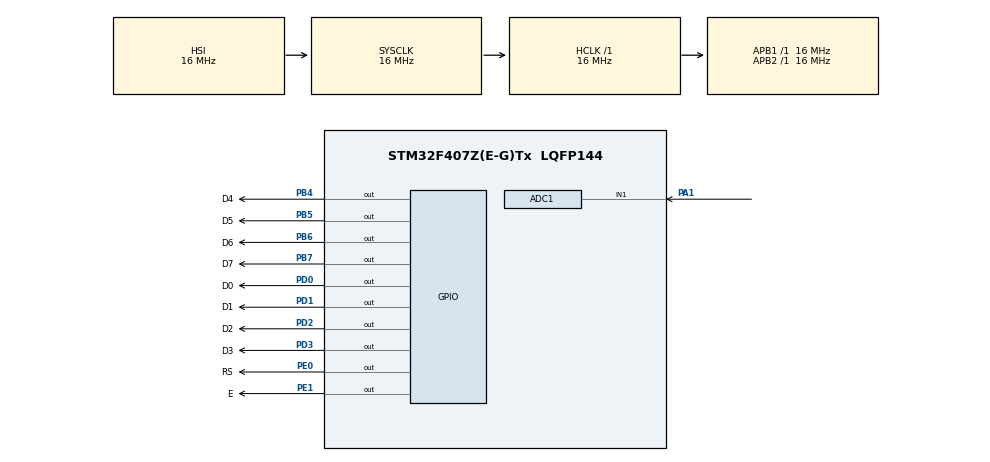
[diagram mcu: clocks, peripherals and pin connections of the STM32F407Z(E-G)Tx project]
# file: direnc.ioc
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ADC1.Channel-0\#ChannelRegularConversion=ADC_CHANNEL_1
ADC1.Channel-1\#ChannelRegularConversion=ADC_CHANNEL_1
ADC1.ClockPrescaler=ADC_CLOCK_SYNC_PCLK_DIV2
ADC1.ContinuousConvMode=ENABLE
ADC1.DMAContinuousRequests=ENABLE
ADC1.DataAlign=ADC_DATAALIGN_RIGHT
ADC1.DiscontinuousConvMode=DISABLE
ADC1.EOCSelection=ADC_EOC_SINGLE_CONV
ADC1.EnableAnalogWatchDog=false
ADC1.ExternalTrigConv=ADC_SOFTWARE_START
ADC1.ExternalTrigConvEdge=ADC_EXTERNALTRIGCONVEDGE_NONE
ADC1.InjNumberOfConversion=0
ADC1.NbrOfConversion=2
ADC1.NbrOfConversionFlag=1
ADC1.Rank-0\#ChannelRegularConversion=1
ADC1.Rank-1\#ChannelRegularConversion=2
ADC1.Resolution=ADC_RESOLUTION_12B
ADC1.SamplingTime-0\#ChannelRegularConversion=ADC_SAMPLETIME_480CYCLES
ADC1.SamplingTime-1\#ChannelRegularConversion=ADC_SAMPLETIME_480CYCLES
ADC1.ScanConvMode=ENABLE
ADC1.master=1
Dma.ADC1.0.Direction=DMA_PERIPH_TO_MEMORY
Dma.ADC1.0.FIFOMode=DMA_FIFOMODE_DISABLE
Dma.ADC1.0.Instance=DMA2_Stream0
Dma.ADC1.0.MemDataAlignment=DMA_MDATAALIGN_HALFWORD
Dma.ADC1.0.MemInc=DMA_MINC_ENABLE
Dma.ADC1.0.Mode=DMA_CIRCULAR
Dma.ADC1.0.PeriphDataAlignment=DMA_PDATAALIGN_HALFWORD
Dma.ADC1.0.PeriphInc=DMA_PINC_DISABLE
Dma.ADC1.0.Priority=DMA_PRIORITY_LOW
Dma.Request0=ADC1
Mcu.Family=STM32F4
Mcu.Name=STM32F407Z(E-G)Tx
Mcu.Package=LQFP144
NVIC.ADC_IRQn=true\:0\:0\:false\:false\:true\:true
NVIC.DMA2_Stream0_IRQn=true\:0\:0\:false\:false\:true\:true
NVIC.PriorityGroup=NVIC_PRIORITYGROUP_4
PA1.Signal=ADCx_IN1
PB4.GPIO_Label=D4
PB4.Signal=GPIO_Output
PB5.GPIO_Label=D5
PB5.Signal=GPIO_Output
PB6.GPIO_Label=D6
PB6.Signal=GPIO_Output
PB7.GPIO_Label=D7
PB7.Signal=GPIO_Output
PD0.GPIO_Label=D0
PD0.Signal=GPIO_Output
PD1.GPIO_Label=D1
PD1.Signal=GPIO_Output
PD2.GPIO_Label=D2
PD2.Signal=GPIO_Output
PD3.GPIO_Label=D3
PD3.Signal=GPIO_Output
PE0.GPIO_Label=RS
PE0.Signal=GPIO_Output
PE1.GPIO_Label=E
PE1.Signal=GPIO_Output
ProjectManager.HeapSize=0x200
ProjectManager.StackSize=0x400
ProjectManager.TargetToolchain=MDK-ARM V5
RCC.AHBFreq_Value=16000000
RCC.APB1Freq_Value=16000000
RCC.APB2Freq_Value=16000000
RCC.CortexFreq_Value=16000000
RCC.HSE_VALUE=25000000
RCC.HSI_VALUE=16000000
RCC.LSE_VALUE=32768
RCC.PLLSourceVirtual=RCC_PLLSOURCE_HSI
RCC.SYSCLKFreq_VALUE=16000000
RCC.VCOOutputFreq_Value=192000000
SH.ADCx_IN1.0=ADC1_IN1,IN1
board=direnc

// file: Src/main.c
/**
  ******************************************************************************
  * @file           : main.c
  * @brief          : Main program body
  ******************************************************************************
  ** This notice applies to any and all portions of this file
  * that are not between comment pairs USER CODE BEGIN and
  * USER CODE END. Other portions of this file, whether
  * inserted by the user or by software development tools
  * are owned by their respective copyright owners.
  *
  * COPYRIGHT(c) 2018 STMicroelectronics
  *
  * Redistribution and use in source and binary forms, with or without modification,
  * are permitted provided that the following conditions are met:
  *   1. Redistributions of source code must retain the above copyright notice,
  *      this list of conditions and the following disclaimer.
  *   2. Redistributions in binary form must reproduce the above copyright notice,
  *      this list of conditions and the following disclaimer in the documentation
  *      and/or other materials provided with the distribution.
  *   3. Neither the name of STMicroelectronics nor the names of its contributors
  *      may be used to endorse or promote products derived from this software
  *      without specific prior written permission.
  *
  * THIS SOFTWARE IS PROVIDED BY THE COPYRIGHT HOLDERS AND CONTRIBUTORS "AS IS"
  * AND ANY EXPRESS OR IMPLIED WARRANTIES, INCLUDING, BUT NOT LIMITED TO, THE
  * IMPLIED WARRANTIES OF MERCHANTABILITY AND FITNESS FOR A PARTICULAR PURPOSE ARE
  * DISCLAIMED. IN NO EVENT SHALL THE COPYRIGHT HOLDER OR CONTRIBUTORS BE LIABLE
  * FOR ANY DIRECT, INDIRECT, INCIDENTAL, SPECIAL, EXEMPLARY, OR CONSEQUENTIAL
  * DAMAGES (INCLUDING, BUT NOT LIMITED TO, PROCUREMENT OF SUBSTITUTE GOODS OR
  * SERVICES; LOSS OF USE, DATA, OR PROFITS; OR BUSINESS INTERRUPTION) HOWEVER
  * CAUSED AND ON ANY THEORY OF LIABILITY, WHETHER IN CONTRACT, STRICT LIABILITY,
  * OR TORT (INCLUDING NEGLIGENCE OR OTHERWISE) ARISING IN ANY WAY OUT OF THE USE
  * OF THIS SOFTWARE, EVEN IF ADVISED OF THE POSSIBILITY OF SUCH DAMAGE.
  *
  ******************************************************************************
  */
#include "main.h"
#include "stm32f4xx_hal.h"
/* USER CODE BEGIN Includes */
#include "STM_MY_LCD16X2.h"
/* USER CODE END Includes */

ADC_HandleTypeDef hadc1;
DMA_HandleTypeDef hdma_adc1;

/* USER CODE BEGIN PV */
/* Private variables ---------------------------------------------------------*/
//TIM_HandleTypeDef *htim;
char lcd[16]; // 2.satirda basilacak dizi
#define RS 0
#define E 1

#define D0 0
#define D1 1
#define D2 2
#define D3 3

#define D4 4
#define D5 5
#define D6 6
#define D7 7
int sayi = 0, rakam = 0, toplam = 0;
int sag1 = 0;
int sag2 = 0;
int sag3 = 0;
int adc_value=0;

/* USER CODE END PV */

void SystemClock_Config(void);
static void MX_GPIO_Init(void);
static void MX_DMA_Init(void);
static void MX_ADC1_Init(void);

/* USER CODE BEGIN PFP */
/* Private function prototypes -----------------------------------------------*/

/* USER CODE END PFP */

/* USER CODE BEGIN 0 */
//char *itoa (int __val, char *__s, int __radix)
//{
//    if (!__builtin_constant_p (__radix)) {
//    extern char *__itoa (int, char *, int);
//    return __itoa (__val, __s, __radix);
//    } else if (__radix < 2 || __radix > 36) {
//    *__s = 0;
//    return __s;
//    } else {
//    extern char *__itoa_ncheck (int, char *, unsigned char);
//    return __itoa_ncheck (__val, __s, __radix);
//    }
//}

//this method will convert the int to string to be wittin in LCD
void iToS (int i)
{
	int sayac=9; // 7 tane eleman dizisini sayiyiyor kucuge dogru
	while(i>0)
	{
		lcd[sayac]=i%10+' '; // 1.rakam diziye aktarmak
		i=i/10; // 1.rakam sayiden eksiltmek
		sayac--; // sonraki eleman dizine gitmek
	}
}
/* USER CODE END 0 */

void ADC_IRQHandler(void)
{

	 adc_value=HAL_ADC_GetValue(&hadc1);
	  sayi=adc_value;
	int sayici = 0;
	while (sayi > 0) {
            rakam = sayi % 10;
            if (sayici == 0) {
                sag3 = rakam;
            }
            if (sayici == 1) {
                sag2 = rakam;
            }
            if (sayici == 2) {
                sag1 = rakam;
            }
            sayi = sayi / 10;
            sayici++;
        }

	HAL_ADC_Start_IT(&hadc1);
  HAL_ADC_IRQHandler(&hadc1);

}

int main(void)
{
  /* USER CODE BEGIN 1 */
	//HAL_TIM_Base_Start_IT(&htim);
  /* USER CODE END 1 */

  /* MCU Configuration----------------------------------------------------------*/

  /* Reset of all peripherals, Initializes the Flash interface and the Systick. */
  HAL_Init();

  /* Configure the system clock */
  SystemClock_Config();

  /* Initialize all configured peripherals */
  MX_GPIO_Init();
  MX_DMA_Init();
  MX_ADC1_Init();
  /* USER CODE BEGIN 2 */
	//HAL_ADC_Start_DMA(&hadc1,(uint32_t*)adc_olcum[0],2);	// bir daha bakilmalidir

	// ekrana basmak olayi
	HAL_ADC_Start_IT(&hadc1);
	LCD_begin8BIT(GPIOE,RS,E,GPIOD,D0,D1,D2,D3,GPIOB,D4,D5,D6,D7);
////	LCD_print("MUSA AYDIN");
  char A,B,C;
  LCD_print("Nabiziniz :) ");
	while (1)
  {
  /* USER CODE END WHILE */

	LCD_setCursor(2,1);
  LCD_itoa((int)sag3, &A);
	LCD_itoa((int)sag2, &B);
	LCD_itoa((int)sag1, &C);
  LCD_print(&A);
	LCD_print(&B);
	LCD_print(",");
	LCD_print(&C);
	HAL_Delay(1000);
  }

}

void SystemClock_Config(void)
{

  RCC_OscInitTypeDef RCC_OscInitStruct;
  RCC_ClkInitTypeDef RCC_ClkInitStruct;

    /**Configure the main internal regulator output voltage
    */
  __HAL_RCC_PWR_CLK_ENABLE();

  __HAL_PWR_VOLTAGESCALING_CONFIG(PWR_REGULATOR_VOLTAGE_SCALE1);

    /**Initializes the CPU, AHB and APB busses clocks
    */
  RCC_OscInitStruct.OscillatorType = RCC_OSCILLATORTYPE_HSI;
  RCC_OscInitStruct.HSIState = RCC_HSI_ON;
  RCC_OscInitStruct.HSICalibrationValue = 16;
  RCC_OscInitStruct.PLL.PLLState = RCC_PLL_NONE;
  if (HAL_RCC_OscConfig(&RCC_OscInitStruct) != HAL_OK)
  {
    _Error_Handler(__FILE__, __LINE__);
  }

    /**Initializes the CPU, AHB and APB busses clocks
    */
  RCC_ClkInitStruct.ClockType = RCC_CLOCKTYPE_HCLK|RCC_CLOCKTYPE_SYSCLK
                              |RCC_CLOCKTYPE_PCLK1|RCC_CLOCKTYPE_PCLK2;
  RCC_ClkInitStruct.SYSCLKSource = RCC_SYSCLKSOURCE_HSI;
  RCC_ClkInitStruct.AHBCLKDivider = RCC_SYSCLK_DIV1;
  RCC_ClkInitStruct.APB1CLKDivider = RCC_HCLK_DIV1;
  RCC_ClkInitStruct.APB2CLKDivider = RCC_HCLK_DIV1;

  if (HAL_RCC_ClockConfig(&RCC_ClkInitStruct, FLASH_LATENCY_0) != HAL_OK)
  {
    _Error_Handler(__FILE__, __LINE__);
  }

    /**Configure the Systick interrupt time
    */
  HAL_SYSTICK_Config(HAL_RCC_GetHCLKFreq()/1000);

    /**Configure the Systick
    */
  HAL_SYSTICK_CLKSourceConfig(SYSTICK_CLKSOURCE_HCLK);

  /* SysTick_IRQn interrupt configuration */
  HAL_NVIC_SetPriority(SysTick_IRQn, 0, 0);
}

/* ADC1 init function */
static void MX_ADC1_Init(void)
{

  ADC_ChannelConfTypeDef sConfig;

    /**Configure the global features of the ADC (Clock, Resolution, Data Alignment and number of conversion)
    */
  hadc1.Instance = ADC1;
  hadc1.Init.ClockPrescaler = ADC_CLOCK_SYNC_PCLK_DIV2;
  hadc1.Init.Resolution = ADC_RESOLUTION_12B;
  hadc1.Init.ScanConvMode = ENABLE;
  hadc1.Init.ContinuousConvMode = ENABLE;
  hadc1.Init.DiscontinuousConvMode = DISABLE;
  hadc1.Init.ExternalTrigConvEdge = ADC_EXTERNALTRIGCONVEDGE_NONE;
  hadc1.Init.ExternalTrigConv = ADC_SOFTWARE_START;
  hadc1.Init.DataAlign = ADC_DATAALIGN_RIGHT;
  hadc1.Init.NbrOfConversion = 2;
  hadc1.Init.DMAContinuousRequests = ENABLE;
  hadc1.Init.EOCSelection = ADC_EOC_SINGLE_CONV;
  if (HAL_ADC_Init(&hadc1) != HAL_OK)
  {
    _Error_Handler(__FILE__, __LINE__);
  }

    /**Configure for the selected ADC regular channel its corresponding rank in the sequencer and its sample time.
    */
  sConfig.Channel = ADC_CHANNEL_1;
  sConfig.Rank = 1;
  sConfig.SamplingTime = ADC_SAMPLETIME_480CYCLES;
  if (HAL_ADC_ConfigChannel(&hadc1, &sConfig) != HAL_OK)
  {
    _Error_Handler(__FILE__, __LINE__);
  }

    /**Configure for the selected ADC regular channel its corresponding rank in the sequencer and its sample time.
    */
  sConfig.Rank = 2;
  if (HAL_ADC_ConfigChannel(&hadc1, &sConfig) != HAL_OK)
  {
    _Error_Handler(__FILE__, __LINE__);
  }

}

static void MX_DMA_Init(void)
{
  /* DMA controller clock enable */
  __HAL_RCC_DMA2_CLK_ENABLE();

  /* DMA interrupt init */
  /* DMA2_Stream0_IRQn interrupt configuration */
  HAL_NVIC_SetPriority(DMA2_Stream0_IRQn, 0, 0);
  HAL_NVIC_EnableIRQ(DMA2_Stream0_IRQn);

}

/** Configure pins as
        * Analog
        * Input
        * Output
        * EVENT_OUT
        * EXTI
*/
static void MX_GPIO_Init(void)
{

  GPIO_InitTypeDef GPIO_InitStruct;

  /* GPIO Ports Clock Enable */
  __HAL_RCC_GPIOA_CLK_ENABLE();
  __HAL_RCC_GPIOD_CLK_ENABLE();
  __HAL_RCC_GPIOB_CLK_ENABLE();
  __HAL_RCC_GPIOE_CLK_ENABLE();

  /*Configure GPIO pin Output Level */
  HAL_GPIO_WritePin(GPIOD, D0_Pin|D1_Pin|D2_Pin|D3_Pin, GPIO_PIN_RESET);

  /*Configure GPIO pin Output Level */
  HAL_GPIO_WritePin(GPIOB, D4_Pin|D5_Pin|D6_Pin|D7_Pin, GPIO_PIN_RESET);

  /*Configure GPIO pin Output Level */
  HAL_GPIO_WritePin(GPIOE, RS_Pin|E_Pin, GPIO_PIN_RESET);

  /*Configure GPIO pins : D0_Pin D1_Pin D2_Pin D3_Pin */
  GPIO_InitStruct.Pin = D0_Pin|D1_Pin|D2_Pin|D3_Pin;
  GPIO_InitStruct.Mode = GPIO_MODE_OUTPUT_PP;
  GPIO_InitStruct.Pull = GPIO_NOPULL;
  GPIO_InitStruct.Speed = GPIO_SPEED_FREQ_LOW;
  HAL_GPIO_Init(GPIOD, &GPIO_InitStruct);

  /*Configure GPIO pins : D4_Pin D5_Pin D6_Pin D7_Pin */
  GPIO_InitStruct.Pin = D4_Pin|D5_Pin|D6_Pin|D7_Pin;
  GPIO_InitStruct.Mode = GPIO_MODE_OUTPUT_PP;
  GPIO_InitStruct.Pull = GPIO_NOPULL;
  GPIO_InitStruct.Speed = GPIO_SPEED_FREQ_LOW;
  HAL_GPIO_Init(GPIOB, &GPIO_InitStruct);

  /*Configure GPIO pins : RS_Pin E_Pin */
  GPIO_InitStruct.Pin = RS_Pin|E_Pin;
  GPIO_InitStruct.Mode = GPIO_MODE_OUTPUT_PP;
  GPIO_InitStruct.Pull = GPIO_NOPULL;
  GPIO_InitStruct.Speed = GPIO_SPEED_FREQ_LOW;
  HAL_GPIO_Init(GPIOE, &GPIO_InitStruct);

}

void _Error_Handler(char *file, int line)
{
  while(1)
  {
  }
}

/************************ (C) COPYRIGHT STMicroelectronics *****END OF FILE****/
